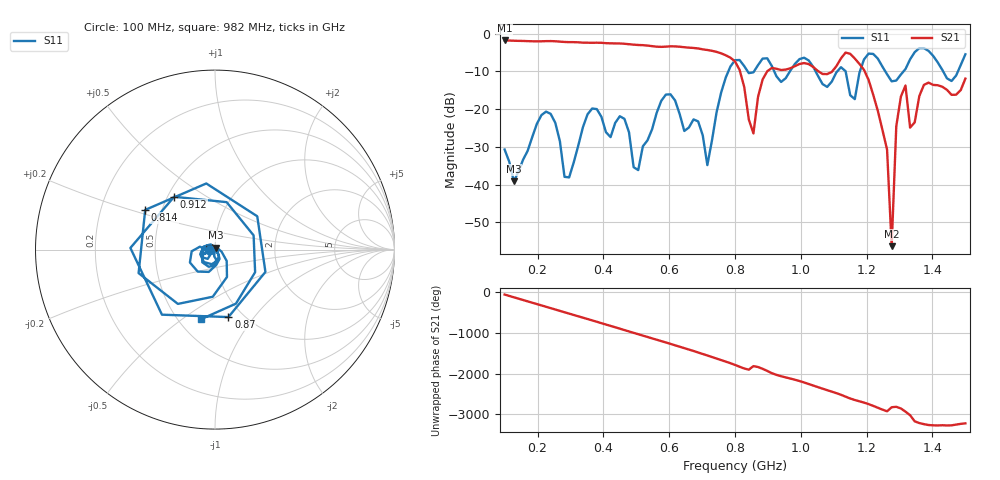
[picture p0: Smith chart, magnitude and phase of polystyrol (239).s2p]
! NanoVNA-App
! Date: 2025-09-25 15:31:45
! Start: 100MHz Stop: 1,5GHz Points: 101
! S-Parameter data: F S11 S21 S12 S22
# Hz S RI R 50
!  Frequency  S11_Real  S11_Imag  S21_Real  S21_Imag  S12_Real  S12_Imag  S22_Real  S22_Imag
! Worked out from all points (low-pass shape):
!   101 points, 100 MHz to 1.5 GHz, reference 50 ohm
!   highest |S21| = -1.80 dB at 100 MHz (marker M1); lowest = -56.3 dB at 1.276 GHz (marker M2)
!   |S21| within 3 dB of the highest: start of sweep to 742.8 MHz
!   lowest |S11| = -39.1 dB at 128 MHz (marker M3), VSWR 1.02, Z = 50.3 + j1.06 ohm
!   |S11| at or under -10 dB: start of sweep to 779.8 MHz; 1.045 GHz to 1.111 GHz (65.74 MHz wide, 6.1 % of centre); 1.257 GHz to 1.312 GHz (55.29 MHz wide, 4.3 % of centre) (the widest 3 of 7)
!   S12 and S22 are empty: the file has one direction only
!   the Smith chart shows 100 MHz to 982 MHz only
!   S11 on the Smith chart (normalised r, x): 100 MHz: 0.94, -0.01; 814 MHz: 0.40, +0.22; 870 MHz: 0.86, -0.75; 912 MHz: 0.54, +0.37; 982 MHz: 0.64, -0.59
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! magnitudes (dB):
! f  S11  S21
! 100 MHz  -30.7  -1.8
! 128 MHz  -39.1  -1.9
! 212 MHz  -21.6  -2.0
! 282 MHz  -37.9  -2.2
! 338 MHz  -24.8  -2.4
! 506 MHz  -36.2  -3.0
! 576 MHz  -17.8  -3.5
! 716 MHz  -34.8  -4.3
! 800 MHz  -7.0  -7.3
! 814 MHz  -7.0  -9.6
! 856 MHz  -10.2  -26.4
! 870 MHz  -8.3  -16.7
! 912 MHz  -8.6  -9.1
! 982 MHz  -8.0  -8.6
! 1.038 GHz  -8.8  -8.9
! 1.206 GHz  -5.3  -12.3
! 1.262 GHz  -10.8  -30.7
! 1.276 GHz  -12.6  -56.3
! 1.29 GHz  -12.4  -24.5
! 1.318 GHz  -9.4  -13.7
! 1.332 GHz  -6.8  -24.9
! 1.5 GHz  -5.5  -11.9
